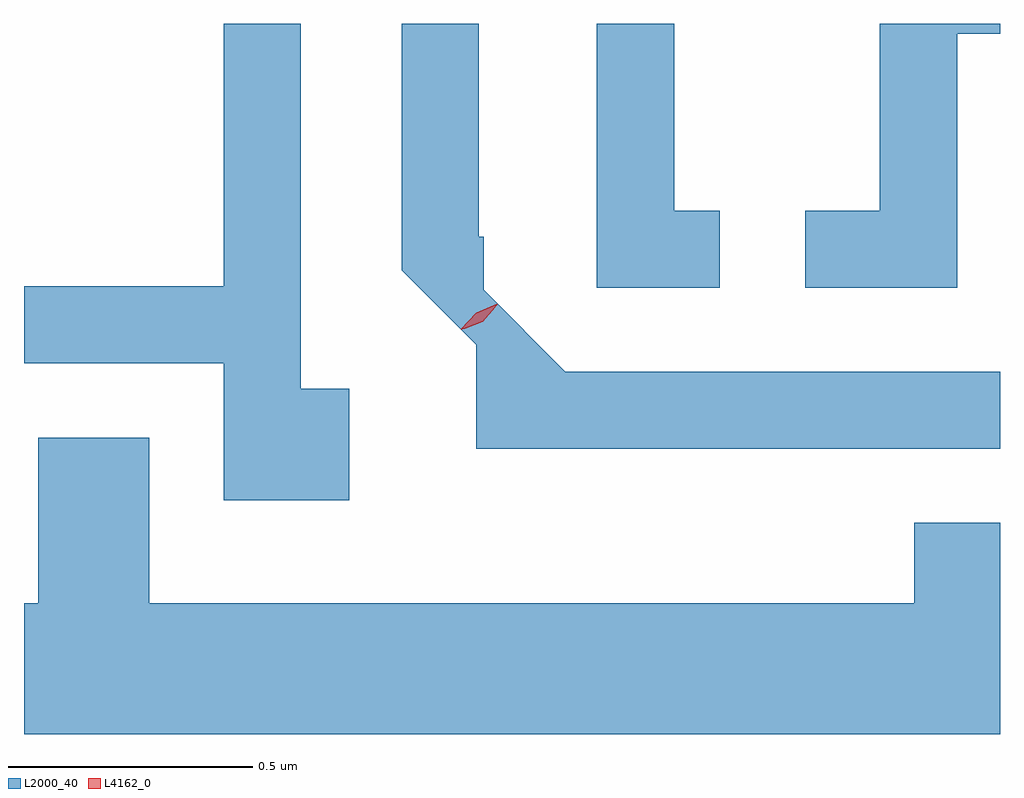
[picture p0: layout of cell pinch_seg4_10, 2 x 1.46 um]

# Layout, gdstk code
import gdstk
lib = gdstk.Library(unit=1e-6, precision=1e-09)
def P(c, l, *ps):  # polygons
    for p in ps: c.add(gdstk.Polygon(p, *l))
L2000_40 = (2000, 40)
L4162_0 = (4162, 0)

pinch_seg4_10 = lib.new_cell('pinch_seg4_10')
P(pinch_seg4_10, L2000_40, [(862.228,1315.789),(862.134,1315.789),(862.134,1316.172),(861.976,1316.172),(861.976,1315.631),(862.228,1315.631)],
  [(861.469,1315.424),(861.369,1315.424),(861.369,1316.172),(861.211,1316.172),(861.211,1315.634),(860.802,1315.634),(860.802,1315.476),(861.211,1315.476),(861.211,1315.196),(861.469,1315.196)],
  [(862.714,1316.151),(862.802,1316.151),(862.802,1316.172),(862.556,1316.172),(862.556,1315.789),(862.403,1315.789),(862.403,1315.631),(862.714,1315.631)],
  [(862.802,1315.459),(861.911,1315.459),(861.744,1315.627),(861.744,1315.735),(861.734,1315.735),(861.734,1316.172),(861.576,1316.172),(861.576,1315.667),(861.729,1315.514),(861.729,1315.301),(862.802,1315.301)],
  [(862.802,1315.149),(862.626,1315.149),(862.626,1314.984),(861.059,1314.984),(861.059,1315.324),(860.831,1315.324),(860.831,1314.984),(860.802,1314.984),(860.802,1314.716),(862.802,1314.716)])
P(pinch_seg4_10, L4162_0, [(861.698,1315.545),(861.697,1315.546),(861.697,1315.546),(861.729,1315.58),(861.772,1315.598),(861.772,1315.597),(861.772,1315.596),(861.74,1315.563)],
  [(861.704,1315.547),(861.704,1315.548),(861.73,1315.578),(861.768,1315.592),(861.768,1315.592),(861.768,1315.591),(861.742,1315.561),(861.705,1315.547)])

lib.write_gds('pinch_seg4_10.gds')
